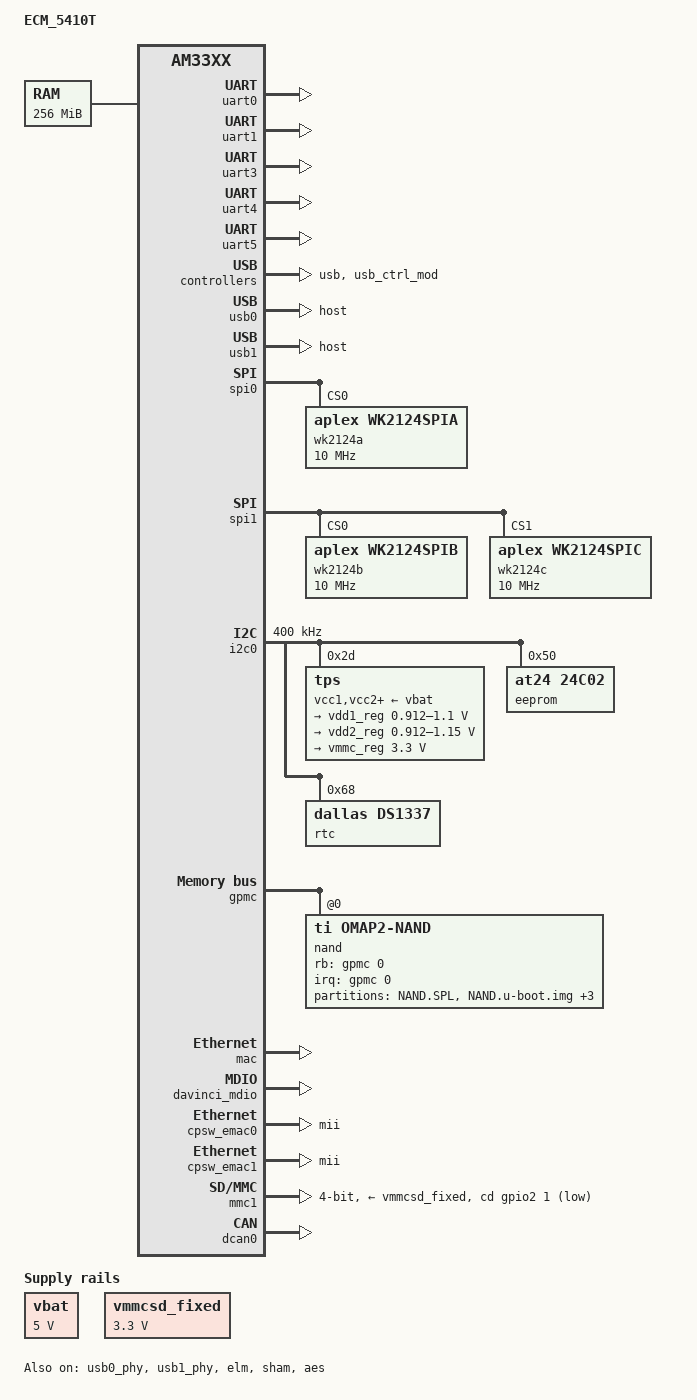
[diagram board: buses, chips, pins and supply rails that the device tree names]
/*
 * Copyright (C) 2012 Texas Instruments Incorporated - http://www.ti.com/
 *
 * This program is free software; you can redistribute it and/or modify
 * it under the terms of the GNU General Public License version 2 as
 * published by the Free Software Foundation.
 */
/dts-v1/;

#include "am33xx.dtsi"
#include <dt-bindings/interrupt-controller/irq.h>
/ {
	model = "ECM_5410T";
	compatible = "ti,ecm_5410t", "ti,am33xx";

	chosen {
		linux,stdout-path = &uart0;
	};

	cpus {
		cpu@0 {
			cpu0-supply = <&vdd1_reg>;
		};
	};

	memory {
		device_type = "memory";
		//reg = <0x80000000 0x20000000>; /* 512 MB */
		reg = <0x80000000 0x10000000>; /* 256 MB */
	};

	vbat: fixedregulator@0 {
		compatible = "regulator-fixed";
		regulator-name = "vbat";
		regulator-min-microvolt = <5000000>;
		regulator-max-microvolt = <5000000>;
		regulator-boot-on;
	};

	vmmcsd_fixed: fixedregulator@0 {
		compatible = "regulator-fixed";
		regulator-name = "vmmcsd_fixed";
		regulator-min-microvolt = <3300000>;
		regulator-max-microvolt = <3300000>;
	};

    /*
    gpio_irq {
      compatible = "gpio_to_irq";
      gpio_nu = <44  IRQ_TYPE_EDGE_FALLING>;
    };
    */
};

&am33xx_pinmux {
	i2c0_pins: pinmux_i2c0_pins {
		pinctrl-single,pins = <
			0x188 (PIN_INPUT_PULLUP | MUX_MODE0)	/* i2c0_sda.i2c0_sda */
			0x18c (PIN_INPUT_PULLUP | MUX_MODE0)	/* i2c0_scl.i2c0_scl */
		>;
	};

	spi0_pins: pinmux_spi0_pins {
		pinctrl-single,pins = <
			0x150 (PIN_INPUT_PULLDOWN | MUX_MODE0)	/* spi0_clk.spi0_clk */
			0x154 (PIN_INPUT_PULLDOWN | MUX_MODE0)	/* spi0_d0.spi0_d0 */
			0x158 (PIN_INPUT_PULLUP | MUX_MODE0)	/* spi0_d1.spi0_d1 */
			0x15c (PIN_INPUT_PULLUP | MUX_MODE0)	/* spi0_cs0.spi0_cs0 */
            0x20  (MUX_MODE7 | PIN_OUTPUT_PULLUP)   /* gpmc_ad8  */
            0x24  (MUX_MODE7 | PIN_INPUT_PULLUP)    /* gpmc_ad9  */
		>;
	};

	spi1_pins: pinmux_spi1_pins {
		pinctrl-single,pins = <
			0x190 (PIN_INPUT_PULLDOWN | MUX_MODE3)	/* mcasp0_aclkx.spi1_clk */
			0x194 (PIN_INPUT_PULLDOWN | MUX_MODE3)	/* mcasp0_fsx.spi1_d0 */
			0x198 (PIN_INPUT_PULLUP   | MUX_MODE3)	/* mcasp0_axr0.spi1_d1 */
			0x19c (PIN_INPUT_PULLUP | MUX_MODE3)	/* mcasp0_ahclkr.spi1_cs0 */
			0x1b0 (PIN_INPUT_PULLUP | MUX_MODE4)	/* xdma_event_intr0.spi1_cs1 */
            0x28  (MUX_MODE7 | PIN_OUTPUT_PULLUP)   /* gpmc_ad10 */
            0x2c  (MUX_MODE7 | PIN_INPUT_PULLUP)    /* gpmc_ad11 */
            0x34  (MUX_MODE7 | PIN_OUTPUT_PULLUP)   /* gpmc_ad13 */
            0x38  (MUX_MODE7 | PIN_INPUT_PULLUP)    /* gpmc_ad14 */
		>;
	};

	uart0_pins: pinmux_uart0_pins {
		pinctrl-single,pins = <
			0x170 (PIN_INPUT_PULLUP | MUX_MODE0)	/* uart0_rxd.uart0_rxd */
			0x174 (PIN_OUTPUT_PULLDOWN | MUX_MODE0)	/* uart0_txd.uart0_txd */

            0x80  (MUX_MODE7 | PIN_OUTPUT)      /* gpmc_csn1 */
            0x84  (MUX_MODE7 | PIN_OUTPUT)      /* gpmc_csn2 */
            0x78  (MUX_MODE7 | PIN_OUTPUT)      /* gpmc_ben1 */
            0x74  (MUX_MODE7 | PIN_OUTPUT)      /* gpmc_wpn */
            0x30  (MUX_MODE7 | PIN_INPUT)       /* gpmc_ad12 */
            0x3c  (MUX_MODE7 | PIN_OUTPUT)      /* gpmc_ad15 */
            0x40  (MUX_MODE7 | PIN_INPUT)       /* gpmc_a0 */
            0x44  (MUX_MODE7 | PIN_INPUT)       /* gpmc_a1 */
            0x48  (MUX_MODE7 | PIN_INPUT)          /* gpmc_ad2 */
            0x4c  (MUX_MODE7 | PIN_INPUT)          /* gpmc_ad3 */
            0x50  (MUX_MODE7 | PIN_OUTPUT)         /* gpmc_ad4 */
            0x54  (MUX_MODE7 | PIN_OUTPUT)         /* gpmc_ad5 */
            0x58  (MUX_MODE7 | PIN_OUTPUT)         /* gpmc_ad6 */
            0x5c  (MUX_MODE7 | PIN_OUTPUT)         /* gpmc_ad7 */
            0x60  (MUX_MODE7 | PIN_INPUT_PULLDOWN) /* gpmc_ad8 */
            0x64  (MUX_MODE7 | PIN_INPUT_PULLDOWN) /* gpmc_ad9 */
            0x68  (MUX_MODE7 | PIN_INPUT_PULLDOWN) /* gpmc_ad10 */
            0x6c  (MUX_MODE7 | PIN_INPUT_PULLDOWN) /* gpmc_ad11 */
            0x144 (MUX_MODE7 | PIN_OUTPUT)         /* rmii1_refclk */
		>;
	};

	uart1_pins: pinmux_uart1_pins {
		pinctrl-single,pins = <
			0x180 (PIN_INPUT_PULLUP | MUX_MODE0)	/* uart1_rxd.uart1_rxd */
			0x184 (PIN_OUTPUT_PULLDOWN | MUX_MODE0)	/* uart1_txd.uart1_txd */
		>;
	};

    uart3_pins: pinmux_uart3_pins {
        pinctrl-single,pins = <
            0x160 (PIN_INPUT_PULLUP | MUX_MODE1)    /* spi0_cs1.uart3_rxd */
            0x164 (PIN_OUTPUT_PULLDOWN | MUX_MODE1) /* ecap0_in_pwm0_out.uart3_txd */
        >;
    };

	uart4_pins: uart4_pins {
		pinctrl-single,pins = <
			0x168 (PIN_INPUT_PULLUP | MUX_MODE1) /* uart0_ctsn.uart4_rxd */
			0x16c (PIN_OUTPUT_PULLDOWN | MUX_MODE1) /* uart0_rtsn.uart4_txd */
		>;
	};

	uart5_pins: uart5_pins {
		pinctrl-single,pins = <
			0xc4 (PIN_INPUT_PULLUP | MUX_MODE4)    /* lcd_data9.uart5_rxd */
			0xc0 (PIN_OUTPUT_PULLDOWN | MUX_MODE4) /* lcd_data8.uart5_txd */
		>;
	};

	nandflash_pins_s0: nandflash_pins_s0 {
		pinctrl-single,pins = <
			0x0 (PIN_INPUT_PULLUP | MUX_MODE0)	/* gpmc_ad0.gpmc_ad0 */
			0x4 (PIN_INPUT_PULLUP | MUX_MODE0)	/* gpmc_ad1.gpmc_ad1 */
			0x8 (PIN_INPUT_PULLUP | MUX_MODE0)	/* gpmc_ad2.gpmc_ad2 */
			0xc (PIN_INPUT_PULLUP | MUX_MODE0)	/* gpmc_ad3.gpmc_ad3 */
			0x10 (PIN_INPUT_PULLUP | MUX_MODE0)	/* gpmc_ad4.gpmc_ad4 */
			0x14 (PIN_INPUT_PULLUP | MUX_MODE0)	/* gpmc_ad5.gpmc_ad5 */
			0x18 (PIN_INPUT_PULLUP | MUX_MODE0)	/* gpmc_ad6.gpmc_ad6 */
			0x1c (PIN_INPUT_PULLUP | MUX_MODE0)	/* gpmc_ad7.gpmc_ad7 */
			0x70 (PIN_INPUT_PULLUP | MUX_MODE0)	/* gpmc_wait0.gpmc_wait0 */
			0x7c (PIN_OUTPUT | MUX_MODE0)		/* gpmc_csn0.gpmc_csn0  */
			0x90 (PIN_OUTPUT | MUX_MODE0)		/* gpmc_advn_ale.gpmc_advn_ale */
			0x94 (PIN_OUTPUT | MUX_MODE0)		/* gpmc_oen_ren.gpmc_oen_ren */
			0x98 (PIN_OUTPUT | MUX_MODE0)		/* gpmc_wen.gpmc_wen */
			0x9c (PIN_OUTPUT | MUX_MODE0)		/* gpmc_be0n_cle.gpmc_be0n_cle */
		>;
	};

     emmc_pins: pinmux_emmc_pins {
   // 	pinctrl-single,pins = <
   // 		0x80 (PIN_INPUT_PULLUP | MUX_MODE2) /* gpmc_csn1.mmc1_clk */
   // 		0x84 (PIN_INPUT_PULLUP | MUX_MODE2) /* gpmc_csn2.mmc1_cmd */
   // 		0x00 (PIN_INPUT_PULLUP | MUX_MODE1) /* gpmc_ad0.mmc1_dat0 */
   // 		0x04 (PIN_INPUT_PULLUP | MUX_MODE1) /* gpmc_ad1.mmc1_dat1 */
   // 		0x08 (PIN_INPUT_PULLUP | MUX_MODE1) /* gpmc_ad2.mmc1_dat2 */
   // 		0x0c (PIN_INPUT_PULLUP | MUX_MODE1) /* gpmc_ad3.mmc1_dat3 */
   // 		0x10 (PIN_INPUT_PULLUP | MUX_MODE1) /* gpmc_ad4.mmc1_dat4 */
   // 		0x14 (PIN_INPUT_PULLUP | MUX_MODE1) /* gpmc_ad5.mmc1_dat5 */
   // 		0x18 (PIN_INPUT_PULLUP | MUX_MODE1) /* gpmc_ad6.mmc1_dat6 */
   // 		0x1c (PIN_INPUT_PULLUP | MUX_MODE1) /* gpmc_ad7.mmc1_dat7 */
   // 	>;
     };

	mmc1_pins: pinmux_mmc1_pins {
		pinctrl-single,pins = <
			0xf0 (PIN_INPUT_PULLUP | MUX_MODE0)	/* mmc0_dat3 */
			0xf4 (PIN_INPUT_PULLUP | MUX_MODE0)	/* mmc0_dat2 */
			0xf8 (PIN_INPUT_PULLUP | MUX_MODE0)	/* mmc0_dat1 */
			0xfc (PIN_INPUT_PULLUP | MUX_MODE0)	/* mmc0_dat0 */
			0x100 (PIN_INPUT_PULLUP | MUX_MODE0)	/* mmc0_clk */
			0x104 (PIN_INPUT_PULLUP | MUX_MODE0)	/* mmc0_cmd */
			0x8c (PIN_INPUT | MUX_MODE7)	/* gpmc_clk.gpio2_1  sd_cs */
		>;
	};

	cpsw_default: cpsw_default {
		pinctrl-single,pins = <
			/* Slave 1 */
			0x110 ( PIN_INPUT_PULLDOWN | MUX_MODE0 )    /* (J15) gmii1_rxer */
			0x114 ( PIN_OUTPUT         | MUX_MODE0 )	/* (J16) mii1_txen */
			0x118 ( PIN_INPUT_PULLDOWN | MUX_MODE0 )	/* (J17) mii1_rxdv */
			0x11c ( PIN_OUTPUT         | MUX_MODE0 )	/* (J18) mii1_txd3 */
			0x120 ( PIN_OUTPUT         | MUX_MODE0 )	/* (K15) mii1_txd2 */
			0x124 ( PIN_OUTPUT         | MUX_MODE0 )	/* (K16) mii1_txd1 */
			0x128 ( PIN_OUTPUT         | MUX_MODE0 )	/* (K17) mii1_txd0 */
			0x12c ( PIN_INPUT_PULLDOWN | MUX_MODE0 )	/* (K18) mii1_txclk */
			0x130 ( PIN_INPUT_PULLDOWN | MUX_MODE0 )	/* (L18) mii1_rxclk */
			0x134 ( PIN_INPUT_PULLDOWN | MUX_MODE0 )	/* (L17) mii1_rxd3 */
			0x138 ( PIN_INPUT_PULLDOWN | MUX_MODE0 )	/* (L16) mii1_rxd2 */
			0x13c ( PIN_INPUT_PULLDOWN | MUX_MODE0 )	/* (L15) mii1_rxd1 */
			0x140 ( PIN_INPUT_PULLDOWN | MUX_MODE0 )	/* (M16) mii1_rxd0 */
		>;
	};

	cpsw_sleep: cpsw_sleep {
		pinctrl-single,pins = <
			/* Slave 1 reset value */
			0x114 (PIN_INPUT_PULLDOWN | MUX_MODE7)
			0x118 (PIN_INPUT_PULLDOWN | MUX_MODE7)
			0x11c (PIN_INPUT_PULLDOWN | MUX_MODE7)
			0x120 (PIN_INPUT_PULLDOWN | MUX_MODE7)
			0x124 (PIN_INPUT_PULLDOWN | MUX_MODE7)
			0x128 (PIN_INPUT_PULLDOWN | MUX_MODE7)
			0x12c (PIN_INPUT_PULLDOWN | MUX_MODE7)
			0x130 (PIN_INPUT_PULLDOWN | MUX_MODE7)
			0x134 (PIN_INPUT_PULLDOWN | MUX_MODE7)
			0x138 (PIN_INPUT_PULLDOWN | MUX_MODE7)
			0x13c (PIN_INPUT_PULLDOWN | MUX_MODE7)
			0x140 (PIN_INPUT_PULLDOWN | MUX_MODE7)
		>;
	};

	davinci_mdio_default: davinci_mdio_default {
		pinctrl-single,pins = <
			/* MDIO */
			0x148 (PIN_INPUT_PULLUP | SLEWCTRL_FAST | MUX_MODE0)	/* mdio_data.mdio_data */
			0x14c (PIN_OUTPUT_PULLUP | MUX_MODE0)			/* mdio_clk.mdio_clk */
		>;
	};

	davinci_mdio_sleep: davinci_mdio_sleep {
		pinctrl-single,pins = <
			/* MDIO reset value */
			0x148 (PIN_INPUT_PULLDOWN | MUX_MODE7)
			0x14c (PIN_INPUT_PULLDOWN | MUX_MODE7)
		>;
	};

	mcasp1_pins: mcasp1_pins {
		pinctrl-single,pins = <

		>;
	};

	mcasp1_pins_sleep: mcasp1_pins_sleep {
		pinctrl-single,pins = <

		>;
	};

	dcan0_pins_default: dcan0_pins_default {
		pinctrl-single,pins = <
			0x178 (PIN_OUTPUT | MUX_MODE2)          /* D18 uart1_ctsn.d_can0_tx */
			0x17c (PIN_INPUT_PULLDOWN | MUX_MODE2)  /* D17 uart1_rtsn.d_can0_rx */
		>;
	};

};

&uart0 {
	pinctrl-names = "default";
	pinctrl-0 = <&uart0_pins>;

	status = "okay";
};

&uart1 {
	pinctrl-names = "default";
	pinctrl-0 = <&uart1_pins>;

	status = "okay";
};

&uart3 {
    pinctrl-names = "default";
    pinctrl-0 = <&uart3_pins>;

    status = "okay";
};

&uart4 {
    pinctrl-names = "default";
    pinctrl-0 = <&uart4_pins>;

    status = "okay";
};

&uart5 {
    pinctrl-names = "default";
    pinctrl-0 = <&uart5_pins>;

    status = "okay";
};

&usb {
	status = "okay";
};

&usb_ctrl_mod {
	status = "okay";
};

&usb0_phy {
	status = "okay";
};


&usb1_phy {
	status = "okay";
};

&usb0 {
	status = "okay";
	dr_mode = "host";
};

&usb1 {
	status = "okay";
	dr_mode = "host";
};

&cppi41dma  {
	status = "okay";
};

&spi0 {
    status = "okay";
    pinctrl-names = "default";
    pinctrl-0 = <&spi0_pins>;
    ti,pindir-d0-out-d1-in;

    wk2124a: wk2124a {
        compatible = "aplex,wk2124spiA";
        reg = <0>;
        poll_mode = <0>;
        type = <0>;
        enable_dma = <0>;
        spi-max-frequency = <10000000>;
        irq_gpio = <23 IRQ_TYPE_LEVEL_LOW>;
        driver_name = "ttysWZA";
        dev_name = "ttysWZA";
        major = <190>;
        minor = <5>;
    };
};

&spi1 {
    status = "okay";
    pinctrl-names = "default";
    pinctrl-0 = <&spi1_pins>;
    ti,pindir-d0-out-d1-in;

    wk2124b: wk2124b {
        compatible = "aplex,wk2124spiB";
        reg = <0>;
        poll_mode = <0>;
        type = <0>;
        enable_dma = <0>;
        spi-max-frequency = <10000000>;
        irq_gpio = <27 IRQ_TYPE_LEVEL_LOW>;
        driver_name = "ttysWZB";
        dev_name = "ttysWZB";
        major = <200>;
        minor = <5>;
    };

    wk2124c: wk2124c {
        compatible = "aplex,wk2124spiC";
        reg = <1>;
        poll_mode = <0>;
        type = <0>;
        enable_dma = <0>;
        spi-max-frequency = <10000000>;
        irq_gpio = <46 IRQ_TYPE_LEVEL_LOW>;
        driver_name = "ttysWZC";
        dev_name = "ttysWZC";
        major = <210>;
        minor = <5>;
    };
};

&i2c0 {
	pinctrl-names = "default";
	pinctrl-0 = <&i2c0_pins>;

	status = "okay";
	clock-frequency = <400000>;

	tps: tps@2d {
		reg = <0x2d>;
	};

    eeprom@50 {
        compatible = "at24,24c02";
        reg = <0x50>;
    };

    rtc@68 {
        compatible = "dallas,ds1337";
        reg = <0x68>;
    };
};

&elm {
	status = "okay";
};

&gpmc {
	status = "okay";
	pinctrl-names = "default";
	pinctrl-0 = <&nandflash_pins_s0>;
	ranges = <0 0 0x08000000 0x1000000>;	// CS0: 16MB for NAND
	nand@0,0 {
		compatible = "ti,omap2-nand";
		reg = <0 0 4>;                  // CS0, offset 0, IO size 4
		interrupt-parent = <&gpmc>;
		interrupts = <0 IRQ_TYPE_NONE>, // fifoevent
			     <1 IRQ_TYPE_NONE>;	    // termcount
		rb-gpios = <&gpmc 0 GPIO_ACTIVE_HIGH>; // gpmc_wait0
		ti,nand-ecc-opt = "bch8";
		ti,elm-id = <&elm>;
		nand-bus-width = <8>;
		gpmc,device-width = <1>;
		gpmc,sync-clk-ps = <0>;
		gpmc,cs-on-ns = <0>;
		gpmc,cs-rd-off-ns = <44>;
		gpmc,cs-wr-off-ns = <44>;
		gpmc,adv-on-ns = <6>;
		gpmc,adv-rd-off-ns = <34>;
		gpmc,adv-wr-off-ns = <44>;
		gpmc,we-on-ns = <0>;
		gpmc,we-off-ns = <40>;
		gpmc,oe-on-ns = <0>;
		gpmc,oe-off-ns = <54>;
		gpmc,access-ns = <64>;
		gpmc,rd-cycle-ns = <82>;
		gpmc,wr-cycle-ns = <82>;
		gpmc,bus-turnaround-ns = <0>;
		gpmc,cycle2cycle-delay-ns = <0>;
		gpmc,clk-activation-ns = <0>;
		gpmc,wr-access-ns = <40>;
		gpmc,wr-data-mux-bus-ns = <0>;
		// MTD partition table
		// All SPL-* partitions are sized to minimal length
		// which can be independently programmable. For
		// NAND flash this is equal to size of erase-block
		#address-cells = <1>;
		#size-cells = <1>;
		partition@0 {
			label = "NAND.SPL";
			reg = <0x00000000 0x000080000>;
		};
		partition@1 {
			label = "NAND.u-boot.img";
			reg = <0x00080000 0x00200000>;
		};
		partition@2 {
			label = "NAND.kernel.img";
			reg = <0x00280000 0x00480000>;
		};
		partition@3 {
			label = "NAND.kernel.dts";
			reg = <0x00700000 0x00080000>;
		};
		partition@4 {
			label = "NAND.rootfs.ubi";
			reg = <0x00780000 0x1F880000>;
		};
	};
};

#include "tps65910.dtsi"

&tps {
	vcc1-supply = <&vbat>;
	vcc2-supply = <&vbat>;
	vcc3-supply = <&vbat>;
	vcc4-supply = <&vbat>;
	vcc5-supply = <&vbat>;
	vcc6-supply = <&vbat>;
	vcc7-supply = <&vbat>;
	vccio-supply = <&vbat>;

	regulators {
		vrtc_reg: regulator@0 {
			regulator-always-on;
		};

		vio_reg: regulator@1 {
			regulator-always-on;
		};

		vdd1_reg: regulator@2 {
			/* VDD_MPU voltage limits 0.95V - 1.26V with +/-4% tolerance */
			regulator-name = "vdd_mpu";
			regulator-min-microvolt = <912500>;
			regulator-max-microvolt = <1100000>;
			regulator-boot-on;
			regulator-always-on;
		};

		vdd2_reg: regulator@3 {
			/* VDD_CORE voltage limits 0.95V - 1.1V with +/-4% tolerance */
			regulator-name = "vdd_core";
			regulator-min-microvolt = <912500>;
			regulator-max-microvolt = <1150000>;
			regulator-boot-on;
			regulator-always-on;
		};

		vdd3_reg: regulator@4 {
			regulator-always-on;
		};

		vdig1_reg: regulator@5 {
			regulator-always-on;
		};

		vdig2_reg: regulator@6 {
			regulator-always-on;
		};

		vpll_reg: regulator@7 {
			regulator-always-on;
		};

		vdac_reg: regulator@8 {
			regulator-always-on;
		};

		vaux1_reg: regulator@9 {
			regulator-always-on;
		};

		vaux2_reg: regulator@10 {
			regulator-always-on;
		};

		vaux33_reg: regulator@11 {
			regulator-always-on;
		};

		vmmc_reg: regulator@12 {
			regulator-min-microvolt = <3300000>;
			regulator-max-microvolt = <3300000>;
			regulator-always-on;
		};
	};
};

&mac {
	pinctrl-names = "default", "sleep";
	pinctrl-0 = <&cpsw_default>;
	pinctrl-1 = <&cpsw_sleep>;
    /* dual_emac = <1>; */
	status = "okay";
};

&davinci_mdio {
	pinctrl-names = "default", "sleep";
	pinctrl-0 = <&davinci_mdio_default>;
	pinctrl-1 = <&davinci_mdio_sleep>;
	status = "okay";
};

&cpsw_emac0 {
	phy_id = <&davinci_mdio>, <0>;
	phy-mode = "mii";
	dual_emac_res_vlan = <1>;
};

&cpsw_emac1 {
	phy_id = <&davinci_mdio>, <1>;
	phy-mode = "mii";
	dual_emac_res_vlan = <2>;
};

&mmc1 {
	vmmc-supply = <&vmmcsd_fixed>;
	status = "okay";
	bus-width = <0x4>;
	pinctrl-names = "default";
	pinctrl-0 = <&mmc1_pins>;
	cd-gpios = <&gpio2 1 GPIO_ACTIVE_LOW>;
    max-frequency = <25000000>;
};

&mmc2 {
	vmmc-supply = <&vmmcsd_fixed>;
	pinctrl-names = "default";
	pinctrl-0 = <&emmc_pins>;
	bus-width = <8>;
	status = "disabled";
};

&sham {
	status = "okay";
};

&aes {
	status = "okay";
};

&dcan0 {
	status = "okay";
	pinctrl-names = "default";
	pinctrl-0 = <&dcan0_pins_default>;
};

&wkup_m3_ipc {
	ti,scale-data-fw = "am335x-evm-scale-data.bin";
};

